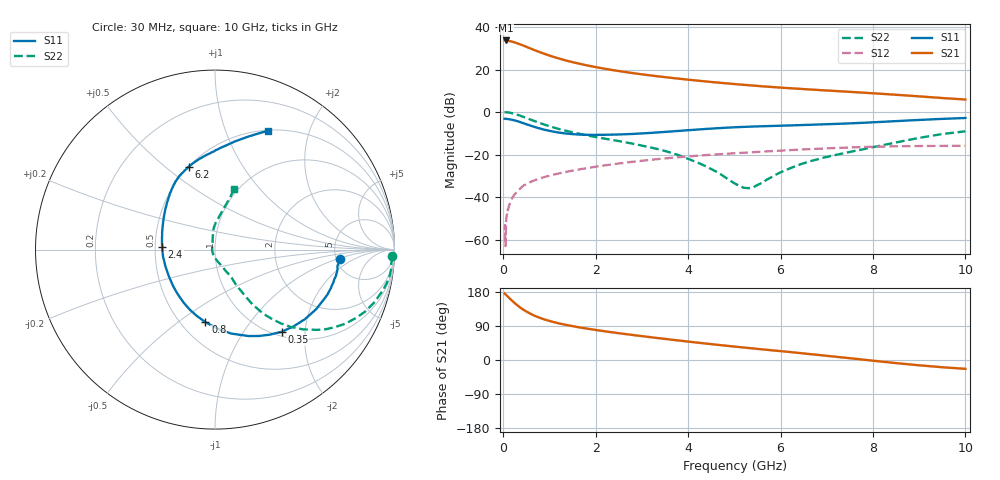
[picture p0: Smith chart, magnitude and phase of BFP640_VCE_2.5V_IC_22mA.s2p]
! Infineon Technologies  Discrete & RF Semiconductors
! BFP640
! VCE =  2.5 V,  IC =  22 mA
! Common Emitter S-Parameters:  Apr 2013
# GHz  S  MA  R  50
!  f  S11  S21  S12  S22
! GHz  MAG  ANG  MAG  ANG  MAG  ANG  MAG  ANG
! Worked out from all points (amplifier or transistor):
!   99 points, 30 MHz to 10 GHz, reference 50 ohm
!   highest |S21| = 33.7 dB at 50 MHz (marker M1)
!   |S21| within 3 dB of that: start of sweep to 502.9 MHz
!   unconditionally stable (mu >= 1): 2.616 GHz to end of sweep
!   at 350 MHz: K = 0.29, MSG = 34.1 dB, |S12| = -36.3 dB
!   at 3.5 GHz: K = 1.04, MAG = 17.9 dB, |S12| = -21.8 dB
!   at 10 GHz: K = 1.07, MAG = 9.3 dB, |S12| = -15.9 dB
!   S11 on the Smith chart (normalised r, x): 30 MHz: 5.34, -1.13; 350 MHz: 1.08, -1.51; 800 MHz: 0.65, -0.63; 2.4 GHz: 0.54, +0.02; 6.2 GHz: 0.50, +0.60; 10 GHz: 0.51, +1.42
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0.03  0.6962 -4.5  48.21 175.6  0.0017 59.5  0.9892 -2.2
0.05  0.6881 -7.5  48.29 173.3  0.0007 80.2  0.985 -4.4
0.06  0.6916 -9.2  48 171.9  0.0025 80.9  0.9872 -5.2
0.11  0.6812 -17.0  47.3 165.9  0.0052 79.8  0.9788 -10.1
0.2  0.6541 -30.5  44.91 155.5  0.0098 77.0  0.9346 -18.4
0.25  0.6336 -37.7  43.37 150.0  0.0117 74.4  0.9046 -22.5
0.35  0.589 -51.0  39.67 140.2  0.0153 69.8  0.8343 -29.7
0.45  0.5398 -63.1  36.06 131.7  0.019 66.2  0.7617 -35.6
0.6  0.476 -79.2  30.94 121.3  0.023 62.6  0.66 -42.3
0.7  0.4385 -88.7  28.02 115.7  0.0253 61.0  0.6014 -45.7
0.8  0.4077 -97.6  25.45 110.9  0.0277 60.3  0.5493 -48.3
1  0.3621 -113.1  21.32 103.1  0.0318 58.1  0.4646 -52.2
1.2  0.3292 -126.9  18.24 96.8  0.0359 56.8  0.4007 -54.5
1.4  0.3097 -138.8  15.89 91.6  0.0398 55.8  0.3543 -56.0
1.7  0.2934 -154.6  13.3 85.0  0.0458 54.3  0.2999 -57.0
2.4  0.2948 177.2  9.589 72.4  0.0596 50.3  0.217 -59.2
3.4  0.3352 148.6  6.816 57.1  0.0793 43.0  0.1296 -63.8
5.1  0.4425 119.0  4.463 34.2  0.1087 29.1  0.0185 -144.0
6.2  0.4833 107.7  3.637 21.1  0.127 20.1  0.0472 106.4
6.7  0.5043 102.1  3.363 14.8  0.1353 15.5  0.0725 99.7
8.5  0.6119 79.7  2.549 -8.2  0.1566 -2.3  0.1927 81.9
10  0.7247 66.0  1.971 -23.3  0.1606 -14.1  0.3521 72.6
